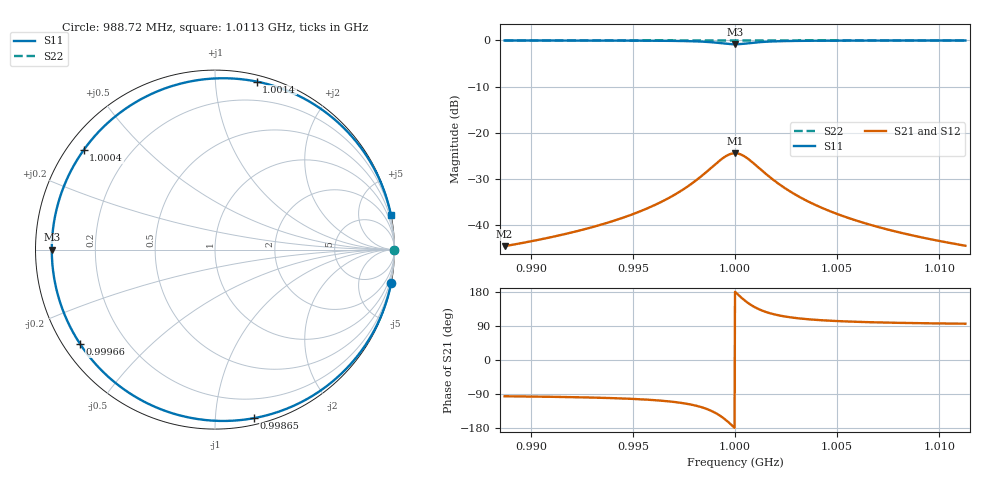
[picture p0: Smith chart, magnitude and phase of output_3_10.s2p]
! File generated for n1 = 3, n2 = 10
! b1 = 21.544347
! b2 = 0.021544
! Q0 = 10000.000000
! f0 = 1000000000.000000
! n = 1001
! rel_span = 10.000000
# Hz S RI R 50
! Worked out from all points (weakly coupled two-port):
!   1001 points, 988.72 MHz to 1.0113 GHz, reference 50 ohm
!   highest |S21| = -24.38 dB at 1 GHz (marker M1); lowest = -44.5 dB at 988.72 MHz (marker M2)
!   lowest |S11| = -0.8 dB at 1 GHz (marker M3), VSWR 21.09, Z = 2.37 + j0 ohm
!   |S11| at or under -10 dB: nowhere
!   |S22| runs from 0.0 to 0.0 dB; largest |S21 - S12| = 0
!   S11 on the Smith chart (normalised r, x): 988.72 MHz: 0, -11; 998.65 MHz: 0.05, -1.26; 999.66 MHz: 0.05, -0.31; 1.0004 GHz: 0.05, +0.34; 1.0014 GHz: 0.05, +1.28; 1.0113 GHz: 0, +10
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9.887171e8  0.9813 -0.188  -0.000591 -0.00595  -0.000591 -0.00595  1 -0.000188
9.924856e8  0.9582 -0.2794  -0.00132 -0.00883  -0.00132 -0.00883  1 -0.000279
9.946293e8  0.9197 -0.3832  -0.00254 -0.0121  -0.00254 -0.0121  0.9999 -0.000383
9.962541e8  0.8417 -0.5265  -0.00501 -0.0166  -0.00501 -0.0166  0.9998 -0.000526
9.976983e8  0.6308 -0.7541  -0.0117 -0.0238  -0.0117 -0.0238  0.9996 -0.000754
9.982173e8  0.4546 -0.8625  -0.0172 -0.0273  -0.0172 -0.0273  0.9995 -0.000863
9.98646e8  0.2181 -0.939  -0.0247 -0.0297  -0.0247 -0.0297  0.9992 -0.000939
9.992102e8  -0.2812 -0.8972  -0.0405 -0.0284  -0.0405 -0.0284  0.9987 -0.000897
9.994359e8  -0.5274 -0.7639  -0.0483 -0.0242  -0.0483 -0.0242  0.9985 -0.000764
9.996615e8  -0.7518 -0.5256  -0.0554 -0.0166  -0.0554 -0.0166  0.9982 -0.000526
1e9  -0.9095 0  -0.0604 0  -0.0604 0  0.9981 0
1.000181e9  -0.8618 0.2979  -0.0589 0.00942  -0.0589 0.00942  0.9981 0.000298
1.000361e9  -0.7322 0.5542  -0.0548 0.0175  -0.0548 0.0175  0.9983 0.000554
1.000564e9  -0.5277 0.7637  -0.0483 0.0241  -0.0483 0.0241  0.9985 0.000764
1.00079e9  -0.2819 0.8969  -0.0405 0.0284  -0.0405 0.0284  0.9987 0.000897
1.001038e9  -0.0346 0.9514  -0.0327 0.0301  -0.0327 0.0301  0.999 0.000951
1.001377e9  0.232 0.9363  -0.0243 0.0296  -0.0243 0.0296  0.9992 0.000936
1.001805e9  0.4629 0.8585  -0.017 0.0271  -0.017 0.0271  0.9995 0.000859
1.002324e9  0.6352 0.7507  -0.0115 0.0237  -0.0115 0.0237  0.9996 0.000751
1.003769e9  0.8424 0.5255  -0.00498 0.0166  -0.00498 0.0166  0.9998 0.000525
1.007537e9  0.9578 0.2806  -0.00133 0.00887  -0.00133 0.00887  1 0.000281
1.011283e9  0.9809 0.1901  -0.000605 0.00601  -0.000605 0.00601  1 0.00019
